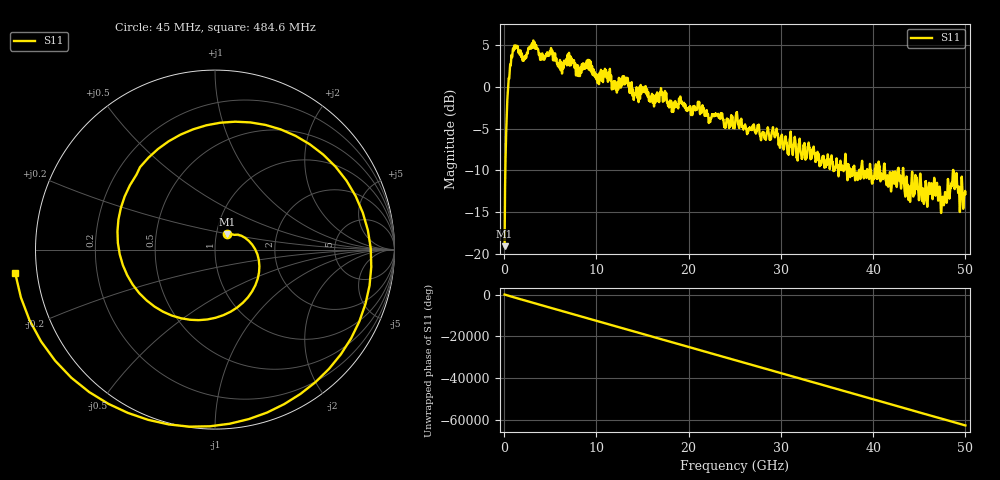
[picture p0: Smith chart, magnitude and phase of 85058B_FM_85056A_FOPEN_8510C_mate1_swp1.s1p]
!Created with skrf (http://scikit-rf.org).
# Hz S RI R 50.0
!freq ReS11 ImS11
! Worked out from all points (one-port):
!   10001 points, 45 MHz to 50 GHz, reference 50 ohm
!   lowest |S11| = -19.1 dB at 45 MHz (marker M1), VSWR 1.25, Z = 56.5 + j9.89 ohm
!   |S11| at or under -10 dB: 41.28 GHz to 42.66 GHz (1.382 GHz wide, 3.29 % of centre); 43.27 GHz to 48.67 GHz (5.393 GHz wide, 11.7 % of centre); 48.67 GHz to end of sweep (the widest 3 of 20)
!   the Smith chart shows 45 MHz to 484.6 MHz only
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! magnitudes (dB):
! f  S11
! 45 MHz  -19.1
! 319.8 MHz  -2.1
! 434.6 MHz  0.1
! 699.4 MHz  2.5
! 1.024 GHz  4.4
! 2.183 GHz  3.6
! 3.232 GHz  4.7
! 4.111 GHz  3.9
! 6.289 GHz  1.8
! 7.239 GHz  2.6
! 7.998 GHz  2.6
! 9.167 GHz  2.1
! 10.08 GHz  1.4
! 10.98 GHz  1.7
! 12.53 GHz  0.5
! 18.78 GHz  -2.1
! 25.02 GHz  -4.4
! 31.27 GHz  -8.1
! 37.51 GHz  -10.8
! 42.58 GHz  -11.8
! 43.76 GHz  -12.0
! 44.94 GHz  -13.4
! 45.69 GHz  -11.3
! 46.75 GHz  -13.0
! 47.53 GHz  -13.2
! 48.84 GHz  -12.2
! 49.31 GHz  -12.2
! 50 GHz  -12.8
